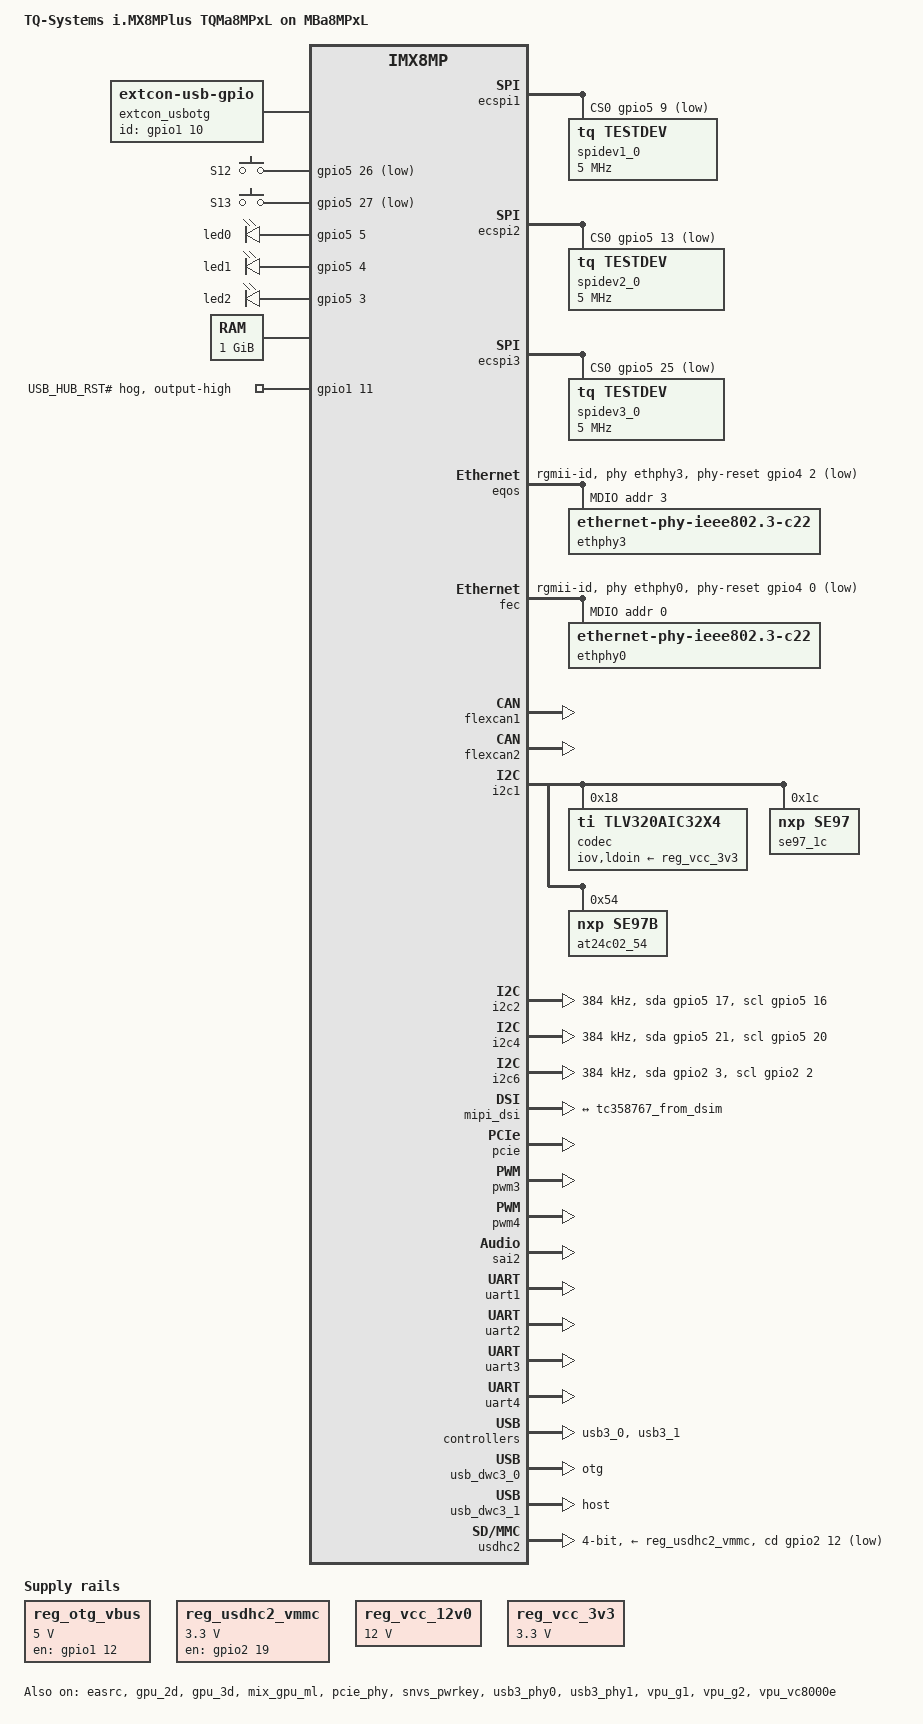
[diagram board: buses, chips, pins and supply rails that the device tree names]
// SPDX-License-Identifier: GPL-2.0-or-later OR MIT
/*
 * Copyright 2021 TQ-Systems GmbH
 */

#include <dt-bindings/net/ti-dp83867.h>

/ {
	model = "TQ-Systems i.MX8MPlus TQMa8MPxL on MBa8MPxL";
	compatible = "tq,imx8mp-mba8mpxl", "tq,imx8mp-tqma8mpxl", "fsl,imx8mp";

	aliases {
		mmc0 = &usdhc3;
		mmc1 = &usdhc2;
		mmc2 = &usdhc1;
		rtc1 = &snvs_rtc;
		rtc0 = &pcf85063;
	};

	backlight_lvds: backlight-lvds {
		compatible = "pwm-backlight";
		pinctrl-names = "default";
		pinctrl-0 = <&pinctrl_bllvds>;
		pwms = <&pwm2 0 5000000>;
		power-supply = <&reg_vcc_12v0>;
		enable-gpios = <&gpio3 19 GPIO_ACTIVE_HIGH>;
		status = "disabled";
	};

	chosen {
		bootargs = "console=ttymxc3,115200 earlycon=ec_imx6q,30a60000,115200";
		stdout-path = &uart4;
	};

	edp_refclk: edp-refclk {
		compatible = "fixed-clock";
		#clock-cells = <0>;
		clock-frequency = <26000000>;
		status = "disabled";
	};

	extcon_usbotg: extcon-usbotg0 {
		compatible = "linux,extcon-usb-gpio";
		pinctrl-names = "default";
		pinctrl-0 = <&pinctrl_usbcon0>;
		id-gpio = <&gpio1 10 GPIO_ACTIVE_HIGH>;
	};

	fan0: pwm-fan {
		compatible = "pwm-fan";
		#cooling-cells = <2>;
		pwms = <&pwm3 0 10000 0>;
		cooling-levels = <0 102 170 230>;
		status = "disabled";
	};

	gpio-keys {
		compatible = "gpio-keys";
		pinctrl-names = "default";
		pinctrl-0 = <&pinctrl_gpiobutton>;
		autorepeat;

		switch1 {
			label = "S12";
			linux,code = <BTN_0>;
			gpios = <&gpio5 26 GPIO_ACTIVE_LOW>;
			wakeup-source;
		};

		switch2 {
			label = "S13";
			linux,code = <BTN_1>;
			gpios = <&gpio5 27 GPIO_ACTIVE_LOW>;
			wakeup-source;
		};
	};

	gpio-leds {
		compatible = "gpio-leds";
		pinctrl-names = "default";
		pinctrl-0 = <&pinctrl_gpioled>;

		led0 {
			label = "led0";
			gpios = <&gpio5 5 GPIO_ACTIVE_HIGH>;
			linux,default-trigger = "default-on";
		};

		led1 {
			label = "led1";
			gpios = <&gpio5 4 GPIO_ACTIVE_HIGH>;
			linux,default-trigger = "heartbeat";
		};

		led2 {
			label = "led2";
			gpios = <&gpio5 3 GPIO_ACTIVE_HIGH>;
		};
	};

	memory@40000000 {
		device_type = "memory";
		reg = <0x0 0x40000000 0 0x40000000>;
	};

	lvdspanel: panel {
		pinctrl-names = "default";
		pinctrl-0 = <&pinctrl_lvdspanel>;
		enable-gpios = <&gpio3 20 GPIO_ACTIVE_HIGH>;
		backlight = <&backlight_lvds>;
		status = "disabled";

		port {
			panel_in_lvds0: endpoint {
				remote-endpoint = <&lvds_out>;
			};
		};
	};

	resmem: reserved-memory {
		#address-cells = <2>;
		#size-cells = <2>;
		ranges;

		ocram: ocram@900000 {
			no-map;
			reg = <0 0x900000 0 0x70000>;
		};

/*
 *		Memory reserved for optee usage. Please do not use.
 *		This will be automatically added to dtb if OP-TEE is installed.
 *		optee@56000000 {
 *			reg = <0 0x56000000 0 0x2000000>;
 *			no-map;
 *		};
 */
		/* global autoconfigured region for contiguous allocations */
		linux,cma {
			compatible = "shared-dma-pool";
			reusable;
			size = <0 0x38000000>;
			alloc-ranges = <0 0x40000000 0 0xB0000000>;
			linux,cma-default;
		};

		dsp_reserved: dsp@92400000 {
			no-map;
			reg = <0 0x92400000 0 0x2000000>;
		};
	};

	reg_otg_vbus: regulator-otg-vbus {
		compatible = "regulator-fixed";
		pinctrl-names = "default";
		pinctrl-0 = <&pinctrl_regotgvbus>;
		regulator-name = "OTG_VBUS";
		regulator-min-microvolt = <5000000>;
		regulator-max-microvolt = <5000000>;
		gpio = <&gpio1 12 GPIO_ACTIVE_HIGH>;
		enable-active-high;
	};

	reg_usdhc2_vmmc: regulator-usdhc2 {
		compatible = "regulator-fixed";
		pinctrl-names = "default";
		pinctrl-0 = <&pinctrl_reg_usdhc2_vmmc>;
		regulator-name = "VSD_3V3";
		regulator-min-microvolt = <3300000>;
		regulator-max-microvolt = <3300000>;
		gpio = <&gpio2 19 GPIO_ACTIVE_HIGH>;
		enable-active-high;
		startup-delay-us = <100>;
		off-on-delay-us = <12000>;
	};

	reg_vcc_12v0: regulator-12v0 {
		compatible = "regulator-fixed";
		regulator-name = "VCC_12V0";
		regulator-min-microvolt = <12000000>;
		regulator-max-microvolt = <12000000>;
	};

	reg_vcc_3v3: regulator-3v3 {
		compatible = "regulator-fixed";
		regulator-name = "VCC_3V3";
		regulator-min-microvolt = <3300000>;
		regulator-max-microvolt = <3300000>;
	};

	sound {
		compatible = "fsl,imx-audio-tlv320aic32x4";
		model = "tqm-tlv320aic32";
		ssi-controller = <&sai2>;
		audio-codec = <&codec>;
	};

	thermal-zones {
		soc-thermal {
			cooling-maps {
				map0 {
					trip = <&soc_alert0>;
					cooling-device = <&fan0 0 1>;
				};
			};
		};
	};
};

&clk {
	init-on-array = <IMX8MP_CLK_HSIO_ROOT>;
};

&easrc {
	fsl,asrc-rate  = <48000>;
	status = "okay";
};

&ecspi1 {
	pinctrl-names = "default";
	pinctrl-0 = <&pinctrl_ecspi1>;
	cs-gpios = <&gpio5 9 GPIO_ACTIVE_LOW>;
	fsl,spi-num-chipselects = <1>;
	num-cs = <1>;
	status = "okay";

	spidev1_0: spidev@0 {
		reg = <0>;
		compatible = "tq,testdev";
		spi-max-frequency = <5000000>;
	};
};

&ecspi2 {
	pinctrl-names = "default";
	pinctrl-0 = <&pinctrl_ecspi2>;
	cs-gpios = <&gpio5 13 GPIO_ACTIVE_LOW>;
	fsl,spi-num-chipselects = <1>;
	num-cs = <1>;
	status = "okay";

	spidev2_0: spidev@0 {
		reg = <0>;
		compatible = "tq,testdev";
		spi-max-frequency = <5000000>;
	};
};

&ecspi3 {
	pinctrl-names = "default";
	pinctrl-0 = <&pinctrl_ecspi3>;
	cs-gpios = <&gpio5 25 GPIO_ACTIVE_LOW>;
	fsl,spi-num-chipselects = <1>;
	num-cs = <1>;
	status = "okay";

	spidev3_0: spidev@0 {
		reg = <0>;
		compatible = "tq,testdev";
		spi-max-frequency = <5000000>;
	};
};

&eqos {
	pinctrl-names = "default";
	pinctrl-0 = <&pinctrl_eqos>;
	phy-mode = "rgmii-id";
	phy-handle = <&ethphy3>;
	phy-reset-gpios = <&gpio4 2 GPIO_ACTIVE_LOW>;
	phy-reset-duration = <500>;
	phy-reset-post-delay = <50>;
	snps,reset-gpios = <&gpio4 2 GPIO_ACTIVE_LOW>;
	snps,reset-active-low;
	snps,reset-delays-us = <0 500000 50000>;

	status = "okay";

	mdio {
		compatible = "snps,dwmac-mdio";
		#address-cells = <1>;
		#size-cells = <0>;

		ethphy3: ethernet-phy@3 {
			compatible = "ethernet-phy-ieee802.3-c22";
			reg = <3>;
			ti,rx-internal-delay = <DP83867_RGMIIDCTL_2_25_NS>;
			ti,tx-internal-delay = <DP83867_RGMIIDCTL_2_25_NS>;
			ti,fifo-depth = <DP83867_PHYCR_FIFO_DEPTH_4_B_NIB>;
			ti,dp83867-rxctrl-strap-quirk;
			ti,clk-output-sel = <DP83867_CLK_O_SEL_OFF>;
			enet-phy-lane-no-swap;
			/* LED0: Link, LED2: activity */
			ti,led-function = <0x0100>;
			/* LED0/2: active High, driven by phy function */
			ti,led-ctrl = <0x1414>;
		};
	};
};

&fec {
	pinctrl-names = "default";
	pinctrl-0 = <&pinctrl_fec>;
	phy-mode = "rgmii-id";
	phy-handle = <&ethphy0>;
	phy-reset-gpios = <&gpio4 0 GPIO_ACTIVE_LOW>;
	phy-reset-duration = <500>;
	phy-reset-post-delay = <50>;
	fsl,magic-packet;
	status = "okay";

	mdio {
		#address-cells = <1>;
		#size-cells = <0>;

		ethphy0: ethernet-phy@0 {
			compatible = "ethernet-phy-ieee802.3-c22";
			reg = <0>;
			ti,rx-internal-delay = <DP83867_RGMIIDCTL_2_25_NS>;
			ti,tx-internal-delay = <DP83867_RGMIIDCTL_2_25_NS>;
			ti,fifo-depth = <DP83867_PHYCR_FIFO_DEPTH_4_B_NIB>;
			ti,dp83867-rxctrl-strap-quirk;
			ti,clk-output-sel = <DP83867_CLK_O_SEL_OFF>;
			enet-phy-lane-no-swap;
			/* LED0: Link, LED2: activity */
			ti,led-function = <0x0100>;
			/* LED0/2: active High, driven by phy function */
			ti,led-ctrl = <0x1414>;
		};
	};
};

&flexcan1 {
	pinctrl-names = "default";
	pinctrl-0 = <&pinctrl_flexcan1>;
	status = "okay";
};

&flexcan2 {
	pinctrl-names = "default";
	pinctrl-0 = <&pinctrl_flexcan2>;
	status = "okay";
};

&gpio1 {
	pinctrl-names = "default";
	pinctrl-0 = <&pinctrl_gpio1>, <&pinctrl_usbhub>;

	gpio-line-names = "GPO0", "GPO1", "", "GPO2",
			  "", "", "GPO3", "GPI0",
			  "", "GPI1", "OTG_ID", "USB_HUB_RST#",
			  "OTG_PWR", "", "GPI2", "GPI3",
			  "", "", "", "",
			  "", "", "", "",
			  "", "", "", "",
			  "", "", "", "";

	usb-hub-reset {
		gpio-hog;
		gpios = <11 0>;
		output-high;
		line-name = "USB_HUB_RST#";
	};
};

&gpio2 {
	gpio-line-names = "", "", "", "",
			  "", "", "", "",
			  "", "", "", "",
			  "USDHC2_CD", "", "", "",
			  "", "", "", "",
			  "", "", "", "",
			  "", "", "", "",
			  "", "", "", "";
};

&gpio4 {
	pinctrl-names = "default";
	pinctrl-0 = <&pinctrl_gpio4>;

	gpio-line-names = "ENET1_RST#", "", "ENET0_RST#", "",
			  "", "", "", "",
			  "", "", "", "",
			  "", "", "", "",
			  "", "", "DP_IRQ", "DSI_EN",
			  "HDMI_OC#", "", "", "",
			  "", "", "", "",
			  "", "", "", "";
};

&gpio5 {
	pinctrl-names = "default";
	pinctrl-0 = <&pinctrl_gpio5>;

	gpio-line-names = "", "", "", "LED2",
			  "LED1", "LED0", "", "",
			  "", "ECSPI1_SS0", "", "",
			  "", "ECSPI2_SS0", "", "",
			  "", "", "", "",
			  "ECSPI3_S0", "", "", "",
			  "", "", "SWITCH_A", "SWITCH_B",
			  "", "", "", "";
};

&gpu_2d {
	status = "okay";
};

&gpu_3d {
	status = "okay";
};

&i2c1 {
	dsi2dp: bridge@f {
		compatible = "toshiba,tc358767";
		pinctrl-names = "default";
		pinctrl-0 = <&pinctrl_edpbridge>;
		reg = <0xf>;
		reset-gpios = <&gpio4 19 GPIO_ACTIVE_LOW>;
		clock-names = "ref";
		clocks = <&edp_refclk>;
		toshiba,hpd-pin = <0>;

		interrupt-names = "irq";
		interrupt-parent = <&gpio4>;
		interrupts = <18 IRQ_TYPE_LEVEL_HIGH>;

		status = "disabled";

		ports {
			#address-cells = <1>;
			#size-cells = <0>;

			port@0 {
				reg = <0>;

				tc358767_from_dsim: endpoint {
					remote-endpoint = <&dsim_to_tc358767>;
				};
			};
		};
	};

	codec: codec@18 {
		compatible = "ti,tlv320aic32x4";
		reg = <0x18>;
		clocks = <&audiomix_clk IMX8MP_CLK_AUDIOMIX_SAI2_MCLK1>;
		clock-names = "mclk";
		iov-supply = <&reg_vcc_3v3>;
		ldoin-supply = <&reg_vcc_3v3>;
	};

	/* NXP SE97BTP with temperature sensor + eeprom */
	se97_1c: temperature-sensor-eeprom@1c {
		compatible = "nxp,se97", "jedec,jc-42.4-temp";
		reg = <0x1c>;
	};

	at24c02_54: eeprom@54 {
		compatible = "nxp,se97b", "atmel,24c02";
		reg = <0x54>;
		pagesize = <16>;
	};
};

&i2c2 {
	/* Errata: limit clk to <= 384000 Hz */
	clock-frequency = <384000>;
	pinctrl-names = "default", "gpio";
	pinctrl-0 = <&pinctrl_i2c2>;
	pinctrl-1 = <&pinctrl_i2c2_gpio>;
	scl-gpios = <&gpio5 16 (GPIO_ACTIVE_HIGH | GPIO_OPEN_DRAIN)>;
	sda-gpios = <&gpio5 17 (GPIO_ACTIVE_HIGH | GPIO_OPEN_DRAIN)>;
	status = "okay";
};

&i2c4 {
	/* Errata: limit clk to <= 384000 Hz */
	clock-frequency = <384000>;
	pinctrl-names = "default", "gpio";
	pinctrl-0 = <&pinctrl_i2c4>;
	pinctrl-1 = <&pinctrl_i2c4_gpio>;
	scl-gpios = <&gpio5 20 (GPIO_ACTIVE_HIGH | GPIO_OPEN_DRAIN)>;
	sda-gpios = <&gpio5 21 (GPIO_ACTIVE_HIGH | GPIO_OPEN_DRAIN)>;
	status = "okay";
};

&i2c6 {
	/* Errata: limit clk to <= 384000 Hz */
	clock-frequency = <384000>;
	pinctrl-names = "default", "gpio";
	pinctrl-0 = <&pinctrl_i2c6>;
	pinctrl-1 = <&pinctrl_i2c6_gpio>;
	scl-gpios = <&gpio2 2 (GPIO_ACTIVE_HIGH | GPIO_OPEN_DRAIN)>;
	sda-gpios = <&gpio2 3 (GPIO_ACTIVE_HIGH | GPIO_OPEN_DRAIN)>;
	status = "okay";
};

&ldb {
	lvds-channel@0 {
		port@1 {
			reg = <1>;

			lvds_out: endpoint {
				remote-endpoint = <&panel_in_lvds0>;
			};
		};
	};
};

&mipi_dsi {
	port@1 {
		dsim_to_tc358767: endpoint {
			remote-endpoint = <&tc358767_from_dsim>;
			attach-bridge;
		};
	};
};

&mix_gpu_ml {
	status = "okay";
};

&pcie{
	ext_osc = <1>;
	clocks = <&clk IMX8MP_CLK_HSIO_AXI_DIV>,
		 <&clk IMX8MP_CLK_PCIE_AUX>,
		 <&clk IMX8MP_CLK_DUMMY>,
		 <&clk IMX8MP_CLK_PCIE_ROOT>;
	clock-names = "pcie", "pcie_aux", "pcie_phy", "pcie_bus";
	assigned-clocks = <&clk IMX8MP_CLK_HSIO_AXI_SRC>,
			  <&clk IMX8MP_CLK_PCIE_AUX>;
	assigned-clock-rates = <500000000>, <10000000>;
	assigned-clock-parents = <&clk IMX8MP_SYS_PLL2_500M>,
				 <&clk IMX8MP_SYS_PLL2_50M>;
	l1ss-disabled;
	status = "okay";
};

&pcie_phy{
	ext_osc = <1>;
	status = "okay";
};

&pwm2 {
	pinctrl-names = "default";
	pinctrl-0 = <&pinctrl_pwm2>;
	status = "disabled";
};

&pwm3 {
	pinctrl-names = "default";
	pinctrl-0 = <&pinctrl_pwm3>;
	status = "okay";
};

&pwm4 {
	pinctrl-names = "default";
	pinctrl-0 = <&pinctrl_pwm4>;
	status = "okay";
};

&sai2 {
	pinctrl-names = "default";
	pinctrl-0 = <&pinctrl_sai2>;

	assigned-clocks = <&clk IMX8MP_CLK_SAI2>;
	assigned-clock-parents = <&clk IMX8MP_AUDIO_PLL1_OUT>;
/* TODO: select better of the two rates */
/*	assigned-clock-rates = <49152000>; */
	assigned-clock-rates = <12288000>;
	clocks = <&audiomix_clk IMX8MP_CLK_AUDIOMIX_SAI2_IPG>,
		 <&clk IMX8MP_CLK_DUMMY>,
		 <&audiomix_clk IMX8MP_CLK_AUDIOMIX_SAI2_MCLK1>,
		 <&clk IMX8MP_CLK_DUMMY>,
		 <&clk IMX8MP_CLK_DUMMY>;
	clock-names = "bus", "mclk0", "mclk1", "mclk2", "mclk3";
	fsl,sai-mclk-direction-output;
	status = "okay";
};

&sdma2 {
	status = "okay";
};

&snvs_pwrkey {
	status = "okay";
};

&uart1 {
	pinctrl-names = "default";
	pinctrl-0 = <&pinctrl_uart1>;
	assigned-clocks = <&clk IMX8MP_CLK_UART1>;
	assigned-clock-parents = <&clk IMX8MP_SYS_PLL1_80M>;
	fsl,dte-mode;
	status = "okay";
};

&uart2 {
	pinctrl-names = "default";
	pinctrl-0 = <&pinctrl_uart2>;
	assigned-clocks = <&clk IMX8MP_CLK_UART2>;
	assigned-clock-parents = <&clk IMX8MP_SYS_PLL1_80M>;
	fsl,uart-has-rtscts;
	fsl,dte-mode;
	status = "okay";
};

&uart3 {
	pinctrl-names = "default";
	pinctrl-0 = <&pinctrl_uart3>;
	assigned-clocks = <&clk IMX8MP_CLK_UART3>;
	assigned-clock-parents = <&clk IMX8MP_SYS_PLL1_80M>;
	fsl,uart-has-rtscts;
	fsl,dte-mode;
	status = "okay";
};

&uart4 {
	/* console */
	pinctrl-names = "default";
	pinctrl-0 = <&pinctrl_uart4>;
	status = "okay";
};

&usb3_phy0 {
	pinctrl-names = "default";
	pinctrl-0 = <&pinctrl_usb0>;
	/*
	 * OC support needs special settings for low active polarity
	 */
	oc_low_active;
	vbus-supply = <&reg_otg_vbus>;
	status = "okay";
};

&usb3_0 {
	status = "okay";
};

&usb_dwc3_0 {
	/*
	 * use extcon gpio OTG ID detection. Older versions of driver does not
	 * support OTG ID signal. Unclear which difference is between muxable
	 * and non muxable pin for ID
	 */
	extcon = <&extcon_usbotg>;
	/* we implement dual role but not full featured OTG */
	hnp-disable;
	srp-disable;
	adp-disable;
	dr_mode = "otg";
	status = "okay";
};

&usb3_phy1 {
	disable-ppc;
	permanent_attached;
	status = "okay";
};

&usb3_1 {
	status = "okay";
};

&usb_dwc3_1 {
	dr_mode = "host";
	status = "okay";
};

&usdhc2 {
	pinctrl-names = "default", "state_100mhz", "state_200mhz";
	pinctrl-0 = <&pinctrl_usdhc2>, <&pinctrl_usdhc2_gpio>;
	pinctrl-1 = <&pinctrl_usdhc2_100mhz>, <&pinctrl_usdhc2_gpio>;
	pinctrl-2 = <&pinctrl_usdhc2_200mhz>, <&pinctrl_usdhc2_gpio>;
	cd-gpios = <&gpio2 12 GPIO_ACTIVE_LOW>;
	vmmc-supply = <&reg_usdhc2_vmmc>;
	no-mmc;
	no-sdio;
	bus-width = <4>;
	status = "okay";
};

&vpu_g1 {
	status = "okay";
};

&vpu_g2 {
	status = "okay";
};

&vpu_vc8000e {
	status = "okay";
};

&mipi_csi_0 {
	pinctrl-names = "default";
	pinctrl-0 = <&pinctrl_mipicsi0>;
	status = "disabled";
};

&mipi_csi_1 {
	pinctrl-names = "default";
	pinctrl-0 = <&pinctrl_mipicsi1>;
	status = "disabled";
};

&iomuxc {
	pinctrl_bllvds: bllvdsgrp {
		fsl,pins = <
			MX8MP_IOMUXC_SAI5_RXFS__GPIO3_IO19	0x14
		>;
	};

	pinctrl_flexcan1: flexcan1grp {
		fsl,pins = <
			MX8MP_IOMUXC_SAI5_RXD1__CAN1_TX	0x150
			MX8MP_IOMUXC_SAI5_RXD2__CAN1_RX	0x150
		>;
	};

	pinctrl_flexcan2: flexcan2grp {
		fsl,pins = <
			MX8MP_IOMUXC_SAI5_RXD3__CAN2_TX	0x150
			MX8MP_IOMUXC_SAI5_MCLK__CAN2_RX	0x150
		>;
	};

	pinctrl_ecspi1: ecspi1grp {
		fsl,pins = <
			MX8MP_IOMUXC_ECSPI1_MISO__ECSPI1_MISO	0x1c0
			MX8MP_IOMUXC_ECSPI1_MOSI__ECSPI1_MOSI	0x1c0
			MX8MP_IOMUXC_ECSPI1_SCLK__ECSPI1_SCLK	0x1c0
			MX8MP_IOMUXC_ECSPI1_SS0__GPIO5_IO09	0x1c0
		>;
	};

	pinctrl_ecspi2: ecspi2grp {
		fsl,pins = <
			MX8MP_IOMUXC_ECSPI2_MISO__ECSPI2_MISO	0x1c0
			MX8MP_IOMUXC_ECSPI2_MOSI__ECSPI2_MOSI	0x1c0
			MX8MP_IOMUXC_ECSPI2_SCLK__ECSPI2_SCLK	0x1c0
			MX8MP_IOMUXC_ECSPI2_SS0__GPIO5_IO13	0x1c0
		>;
	};

	pinctrl_ecspi3: ecspi3grp {
		fsl,pins = <
			MX8MP_IOMUXC_UART1_TXD__ECSPI3_MOSI	0x1c0
			MX8MP_IOMUXC_UART1_RXD__ECSPI3_SCLK	0x1c0
			MX8MP_IOMUXC_UART2_RXD__ECSPI3_MISO	0x1c0
			MX8MP_IOMUXC_UART2_TXD__GPIO5_IO25	0x1c0
		>;
	};

	pinctrl_edpbridge: edpbridgegrp {
		fsl,pins = <
			MX8MP_IOMUXC_SAI1_TXD6__GPIO4_IO18	0x1c0
			MX8MP_IOMUXC_SAI1_TXD7__GPIO4_IO19	0x1c0
		>;
	};

	pinctrl_eqos: eqosgrp {
		fsl,pins = <
			/* SION + ODE + DSE_X2 */
			MX8MP_IOMUXC_ENET_MDC__ENET_QOS_MDC		0x40000044
			MX8MP_IOMUXC_ENET_MDIO__ENET_QOS_MDIO		0x40000044
			MX8MP_IOMUXC_ENET_RD0__ENET_QOS_RGMII_RD0	0x90
			MX8MP_IOMUXC_ENET_RD1__ENET_QOS_RGMII_RD1	0x90
			MX8MP_IOMUXC_ENET_RD2__ENET_QOS_RGMII_RD2	0x90
			MX8MP_IOMUXC_ENET_RD3__ENET_QOS_RGMII_RD3	0x90
			MX8MP_IOMUXC_ENET_RXC__CCM_ENET_QOS_CLOCK_GENERATE_RX_CLK	0x90
			MX8MP_IOMUXC_ENET_RX_CTL__ENET_QOS_RGMII_RX_CTL	0x90
			MX8MP_IOMUXC_ENET_TD0__ENET_QOS_RGMII_TD0	0x12
			MX8MP_IOMUXC_ENET_TD1__ENET_QOS_RGMII_TD1	0x12
			MX8MP_IOMUXC_ENET_TD2__ENET_QOS_RGMII_TD2	0x12
			MX8MP_IOMUXC_ENET_TD3__ENET_QOS_RGMII_TD3	0x12
			MX8MP_IOMUXC_ENET_TX_CTL__ENET_QOS_RGMII_TX_CTL	0x12
			MX8MP_IOMUXC_ENET_TXC__CCM_ENET_QOS_CLOCK_GENERATE_TX_CLK	0x14
			/* EVENT1_IN / RST# -> PE */
			MX8MP_IOMUXC_SAI1_RXD0__GPIO4_IO02		0x100
			/* EVENT1_OUT / INT/PD -> PE + HYS + PUE */
			MX8MP_IOMUXC_SAI1_RXD1__GPIO4_IO03		0x1c0
		>;
	};

	pinctrl_fec: fecgrp {
		fsl,pins = <
			/* SION + ODE + DSE_X2 */
			MX8MP_IOMUXC_SAI1_RXD2__ENET1_MDC		0x40000044
			MX8MP_IOMUXC_SAI1_RXD3__ENET1_MDIO		0x40000044
			MX8MP_IOMUXC_SAI1_RXD4__ENET1_RGMII_RD0		0x90
			MX8MP_IOMUXC_SAI1_RXD5__ENET1_RGMII_RD1		0x90
			MX8MP_IOMUXC_SAI1_RXD6__ENET1_RGMII_RD2		0x90
			MX8MP_IOMUXC_SAI1_RXD7__ENET1_RGMII_RD3		0x90
			MX8MP_IOMUXC_SAI1_TXC__ENET1_RGMII_RXC		0x90
			MX8MP_IOMUXC_SAI1_TXFS__ENET1_RGMII_RX_CTL	0x90
			MX8MP_IOMUXC_SAI1_TXD0__ENET1_RGMII_TD0		0x12
			MX8MP_IOMUXC_SAI1_TXD1__ENET1_RGMII_TD1		0x12
			MX8MP_IOMUXC_SAI1_TXD2__ENET1_RGMII_TD2		0x12
			MX8MP_IOMUXC_SAI1_TXD3__ENET1_RGMII_TD3		0x12
			MX8MP_IOMUXC_SAI1_TXD4__ENET1_RGMII_TX_CTL	0x12
			MX8MP_IOMUXC_SAI1_TXD5__ENET1_RGMII_TXC		0x14
			/* EVENT0_IN / RST# -> PE */
			MX8MP_IOMUXC_SAI1_RXFS__GPIO4_IO00		0x100
			/* EVENT0_OUT / INT/PD -> PE + HYS + PUE */
			MX8MP_IOMUXC_SAI1_RXC__GPIO4_IO01		0x1c0
		>;
	};

	pinctrl_gpiobutton: gpiobuttongrp {
		fsl,pins = <
			MX8MP_IOMUXC_UART3_RXD__GPIO5_IO26	0x10
			MX8MP_IOMUXC_UART3_TXD__GPIO5_IO27	0x10
		>;
	};

	pinctrl_gpioled: gpioledgrp {
		fsl,pins = <
			MX8MP_IOMUXC_SPDIF_EXT_CLK__GPIO5_IO05	0x14
			MX8MP_IOMUXC_SPDIF_RX__GPIO5_IO04	0x14
			MX8MP_IOMUXC_SPDIF_TX__GPIO5_IO03	0x14
		>;
	};

	pinctrl_gpio1: gpio1grp {
		fsl,pins = <
			MX8MP_IOMUXC_GPIO1_IO00__GPIO1_IO00	0x10
			MX8MP_IOMUXC_GPIO1_IO01__GPIO1_IO01	0x10
			MX8MP_IOMUXC_GPIO1_IO03__GPIO1_IO03	0x10
			MX8MP_IOMUXC_GPIO1_IO06__GPIO1_IO06	0x10
			MX8MP_IOMUXC_GPIO1_IO07__GPIO1_IO07	0x80
			MX8MP_IOMUXC_GPIO1_IO09__GPIO1_IO09	0x80
			MX8MP_IOMUXC_GPIO1_IO14__GPIO1_IO14	0x80
			MX8MP_IOMUXC_GPIO1_IO15__GPIO1_IO15	0x80
		>;
	};

	pinctrl_gpio4: gpio4grp {
		fsl,pins = <
			MX8MP_IOMUXC_SAI1_MCLK__GPIO4_IO20	0x180

			MX8MP_IOMUXC_SAI3_RXFS__GPIO4_IO28	0x180
			MX8MP_IOMUXC_SAI3_RXC__GPIO4_IO29	0x180
			MX8MP_IOMUXC_SAI3_RXD__GPIO4_IO30	0x180
			MX8MP_IOMUXC_SAI3_TXFS__GPIO4_IO31	0x180
		>;
	};

	pinctrl_gpio5: gpio5grp {
		fsl,pins = <
			MX8MP_IOMUXC_SAI3_TXC__GPIO5_IO00	0x180
			MX8MP_IOMUXC_SAI3_TXD__GPIO5_IO01	0x180
		>;
	};

	pinctrl_gpt1: gpt1grp {
		fsl,pins = <
			MX8MP_IOMUXC_UART3_RXD__GPT1_CAPTURE2	0x14
			MX8MP_IOMUXC_UART3_TXD__GPT1_CLK	0x14
		>;
	};

	pinctrl_gpt2: gpt2grp {
		fsl,pins = <
			MX8MP_IOMUXC_I2C3_SCL__GPT2_CLK		0x14
		>;
	};

	pinctrl_i2c2: i2c2grp {
		fsl,pins = <
			MX8MP_IOMUXC_I2C2_SCL__I2C2_SCL		0x400001e2
			MX8MP_IOMUXC_I2C2_SDA__I2C2_SDA		0x400001e2
		>;
	};

	pinctrl_i2c2_gpio: i2c2grp-gpio {
		fsl,pins = <
			MX8MP_IOMUXC_I2C2_SCL__GPIO5_IO16	0x400001e2
			MX8MP_IOMUXC_I2C2_SDA__GPIO5_IO17	0x400001e2
		>;
	};

	pinctrl_i2c4: i2c4grp {
		fsl,pins = <
			MX8MP_IOMUXC_I2C4_SCL__I2C4_SCL		0x400001e2
			MX8MP_IOMUXC_I2C4_SDA__I2C4_SDA		0x400001e2
		>;
	};

	pinctrl_i2c4_gpio: i2c4grp-gpio {
		fsl,pins = <
			MX8MP_IOMUXC_I2C4_SCL__GPIO5_IO20	0x400001e2
			MX8MP_IOMUXC_I2C4_SDA__GPIO5_IO21	0x400001e2
		>;
	};

	pinctrl_i2c6: i2c6grp {
		fsl,pins = <
			MX8MP_IOMUXC_SD1_DATA0__I2C6_SCL	0x400001e2
			MX8MP_IOMUXC_SD1_DATA1__I2C6_SDA	0x400001e2
		>;
	};

	pinctrl_i2c6_gpio: i2c6grp-gpio {
		fsl,pins = <
			MX8MP_IOMUXC_SD1_DATA0__GPIO2_IO02	0x400001e2
			MX8MP_IOMUXC_SD1_DATA1__GPIO2_IO03	0x400001e2
		>;
	};

	pinctrl_lvdspanel: lvdspanelgrp {
		fsl,pins = <
			MX8MP_IOMUXC_SAI5_RXC__GPIO3_IO20	0x14
		>;
	};

	pinctrl_mipicsi0: mipicsi0grp {
		fsl,pins = <
			/* TRIGGER */
			MX8MP_IOMUXC_ECSPI1_MISO__GPIO5_IO08	0x1c0
			/* SYNC */
			MX8MP_IOMUXC_ECSPI1_MOSI__GPIO5_IO07	0x1c0
			/* RESET# */
			MX8MP_IOMUXC_ECSPI1_SCLK__GPIO5_IO06	0x1c0
			/* ENABLE */
			MX8MP_IOMUXC_ECSPI1_SS0__GPIO5_IO09	0x1c0
		>;
	};

	pinctrl_mipicsi1: mipicsi1grp {
		fsl,pins = <
			/* TRIGGER */
			MX8MP_IOMUXC_ECSPI2_MISO__GPIO5_IO12	0x1c0
			/* SYNC */
			MX8MP_IOMUXC_ECSPI2_MOSI__GPIO5_IO11	0x1c0
			/* RESET# */
			MX8MP_IOMUXC_ECSPI2_SCLK__GPIO5_IO10	0x1c0
			/* ENABLE */
			MX8MP_IOMUXC_ECSPI2_SS0__GPIO5_IO13	0x1c0
		>;
	};

	pinctrl_pwm2: pwm2grp {
		fsl,pins = <
			MX8MP_IOMUXC_SAI5_RXD0__PWM2_OUT	0x14
		>;
	};

	pinctrl_pwm3: pwm3grp {
		fsl,pins = <
			MX8MP_IOMUXC_I2C3_SDA__PWM3_OUT		0x14
		>;
	};

	pinctrl_pwm4: pwm4grp {
		fsl,pins = <
			MX8MP_IOMUXC_SAI3_MCLK__PWM4_OUT	0x14
		>;
	};

	pinctrl_regotgvbus: reggotgvbusgrp {
		fsl,pins = <
			/* USB1 OTG PWR as GPIO */
			MX8MP_IOMUXC_GPIO1_IO12__GPIO1_IO12	0x100
		>;
	};

	pinctrl_sai2: sai2grp {
		fsl,pins = <
			MX8MP_IOMUXC_SAI2_MCLK__AUDIOMIX_SAI2_MCLK	0x94
			MX8MP_IOMUXC_SAI2_RXC__AUDIOMIX_SAI2_RX_BCLK	0x94
			MX8MP_IOMUXC_SAI2_RXFS__AUDIOMIX_SAI2_RX_SYNC	0x94
			MX8MP_IOMUXC_SAI2_RXD0__AUDIOMIX_SAI2_RX_DATA00	0x94
			MX8MP_IOMUXC_SAI2_TXFS__AUDIOMIX_SAI2_TX_SYNC	0x94
			MX8MP_IOMUXC_SAI2_TXC__AUDIOMIX_SAI2_TX_BCLK	0x94
			MX8MP_IOMUXC_SAI2_TXD0__AUDIOMIX_SAI2_TX_DATA00	0x94
		>;
	};

	pinctrl_uart1: uart1grp {
		fsl,pins = <
			MX8MP_IOMUXC_SD1_CLK__UART1_DTE_RX	0x140
			MX8MP_IOMUXC_SD1_CMD__UART1_DTE_TX	0x140
		>;
	};

	pinctrl_uart2: uart2grp {
		fsl,pins = <
			MX8MP_IOMUXC_SD1_DATA2__UART2_DTE_RX	0x140
			MX8MP_IOMUXC_SD1_DATA3__UART2_DTE_TX	0x140
			MX8MP_IOMUXC_SD1_DATA4__UART2_DTE_CTS	0x140
			MX8MP_IOMUXC_SD1_DATA5__UART2_DTE_RTS	0x140
		>;
	};

	pinctrl_uart3: uart3grp {
		fsl,pins = <
			MX8MP_IOMUXC_SD1_DATA6__UART3_DTE_RX	0x140
			MX8MP_IOMUXC_SD1_DATA7__UART3_DTE_TX	0x140
			MX8MP_IOMUXC_SD1_RESET_B__UART3_DTE_CTS	0x140
			MX8MP_IOMUXC_SD1_STROBE__UART3_DTE_RTS	0x140
		>;
	};

	pinctrl_uart4: uart4grp {
		fsl,pins = <
			MX8MP_IOMUXC_UART4_RXD__UART4_DCE_RX	0x140
			MX8MP_IOMUXC_UART4_TXD__UART4_DCE_TX	0x140
		>;
	};

	pinctrl_usbcon0: usb0congrp {
		fsl,pins = <
			/* ID: floating / high: device, low: host -> use PU */
			MX8MP_IOMUXC_GPIO1_IO10__GPIO1_IO10	0x1c0
		>;
	};

	pinctrl_usb0: usb0grp {
		fsl,pins = <
			/* ID -> via extcon, missing OTG IRQ handling */
			/* PWR -> via regulator @phy */
			/*
			 * TODO: OC detection not functional in dwc3 on i.mx8mq,
			 * pin mux will lead to non functional USB
			 */
			MX8MP_IOMUXC_GPIO1_IO13__USB1_OC	0x1C0
		>;
	};

	pinctrl_usbhub: usbhubgrp {
		fsl,pins = <
			MX8MP_IOMUXC_GPIO1_IO11__GPIO1_IO11	0x10
		>;
	};

	pinctrl_usdhc2: usdhc2grp {
		fsl,pins = <
			MX8MP_IOMUXC_SD2_CLK__USDHC2_CLK	0x192
			MX8MP_IOMUXC_SD2_CMD__USDHC2_CMD	0x1d2
			MX8MP_IOMUXC_SD2_DATA0__USDHC2_DATA0	0x1d2
			MX8MP_IOMUXC_SD2_DATA1__USDHC2_DATA1	0x1d2
			MX8MP_IOMUXC_SD2_DATA2__USDHC2_DATA2	0x1d2
			MX8MP_IOMUXC_SD2_DATA3__USDHC2_DATA3	0x1d2
			MX8MP_IOMUXC_GPIO1_IO04__USDHC2_VSELECT	0xc0
		>;
	};

	pinctrl_usdhc2_100mhz: usdhc2grp-100mhz {
		fsl,pins = <
			MX8MP_IOMUXC_SD2_CLK__USDHC2_CLK	0x194
			MX8MP_IOMUXC_SD2_CMD__USDHC2_CMD	0x1d4
			MX8MP_IOMUXC_SD2_DATA0__USDHC2_DATA0	0x1d4
			MX8MP_IOMUXC_SD2_DATA1__USDHC2_DATA1	0x1d4
			MX8MP_IOMUXC_SD2_DATA2__USDHC2_DATA2	0x1d4
			MX8MP_IOMUXC_SD2_DATA3__USDHC2_DATA3	0x1d4
			MX8MP_IOMUXC_GPIO1_IO04__USDHC2_VSELECT 0xc0
		>;
	};

	pinctrl_usdhc2_200mhz: usdhc2grp-200mhz {
		fsl,pins = <
			MX8MP_IOMUXC_SD2_CLK__USDHC2_CLK	0x194
			MX8MP_IOMUXC_SD2_CMD__USDHC2_CMD	0x1d4
			MX8MP_IOMUXC_SD2_DATA0__USDHC2_DATA0	0x1d4
			MX8MP_IOMUXC_SD2_DATA1__USDHC2_DATA1	0x1d4
			MX8MP_IOMUXC_SD2_DATA2__USDHC2_DATA2	0x1d4
			MX8MP_IOMUXC_SD2_DATA3__USDHC2_DATA3	0x1d4
			MX8MP_IOMUXC_GPIO1_IO04__USDHC2_VSELECT 0xc0
		>;
	};

	pinctrl_usdhc2_gpio: usdhc2grp-gpio {
		fsl,pins = <
			MX8MP_IOMUXC_SD2_CD_B__GPIO2_IO12	0x1c0
		>;
	};
};
